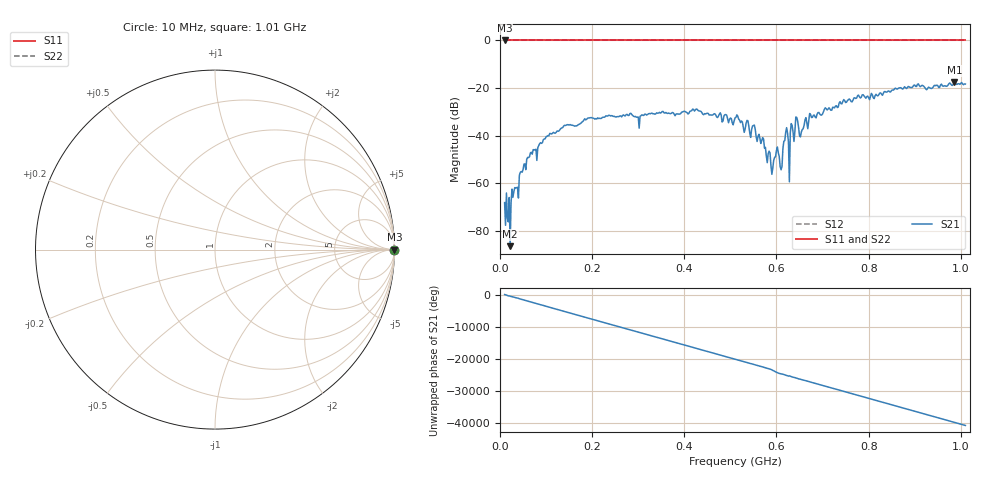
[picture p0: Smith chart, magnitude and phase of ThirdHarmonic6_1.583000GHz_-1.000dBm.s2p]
! 8/16/2025 6:50:52 PM
! C:\ANRITSUVNA\TEMP\TEMP.S2P
! CHANNEL.1
! TR.MEASUREMENT
! RAW.DATA
! RF.CORRECTION.OFF
! AVERAGING.OFF
! IF.BANDWIDTH: 5KHZ
! SWEEPTYPE:  FREQ.SWEEP(Linear)
! Reference Plane Port Info
! PORT:  PORT1  PORT2
! DISTANCE:  0  m  0  m
! TIME:  0  s  0  s
! PHASE.OFFSET:  0  deg.  0  deg.
! LOSS:  0  dB  0  dB
! REF.LOSS:  0  dB  0  dB
! REF.FREQ:  0  Hz  0  Hz
! Power Info
! POWER:  -20  dBm  -20  dBm
! EFF.POWER:  -20  dBm  -20  dBm
! SOURCE.ATTEN:  0  dB  0  dB
! TEST.ATTEN:  0  dB  0  dB
# GHZ S RI R 50.0
! FREQ.GHZ  S11RE  S11IM  S21RE  S21IM  S12RE  S12IM  S22RE  S22IM
!; PortSelection: Port_12
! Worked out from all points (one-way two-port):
!   501 points, 10 MHz to 1.01 GHz, reference 50 ohm
!   highest |S21| = -17.63 dB at 986 MHz (marker M1); lowest = -86.4 dB at 22 MHz (marker M2)
!   lowest |S11| = 0.0 dB at 10 MHz (marker M3)
!   |S11| at or under -10 dB: nowhere
!   |S22| runs from 0.0 to 0.0 dB; largest |S21 - S12| = 1.1
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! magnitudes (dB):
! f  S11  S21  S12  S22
! 10 MHz  0.0  -68.1  0.0  0.0
! 20 MHz  0.0  -66.0  0.0  0.0
! 22 MHz  0.0  -86.4  0.0  0.0
! 30 MHz  0.0  -63.6  0.0  0.0
! 70 MHz  0.0  -47.8  0.0  0.0
! 106 MHz  0.0  -40.1  0.0  0.0
! 178 MHz  0.0  -34.3  0.0  0.0
! 344 MHz  0.0  -30.5  0.0  0.0
! 424 MHz  0.0  -29.2  0.0  0.0
! 510 MHz  0.0  -32.5  0.0  0.0
! 550 MHz  0.0  -35.7  0.0  0.0
! 592 MHz  0.0  -53.6  0.0  0.0
! 600 MHz  0.0  -46.2  0.0  0.0
! 610 MHz  0.0  -54.3  0.0  0.0
! 620 MHz  0.0  -38.7  0.0  0.0
! 626 MHz  0.0  -42.7  0.0  0.0
! 644 MHz  0.0  -32.3  0.0  0.0
! 654 MHz  0.0  -38.5  0.0  0.0
! 678 MHz  0.0  -32.3  0.0  0.0
! 844 MHz  0.0  -21.2  0.0  0.0
! 986 MHz  0.0  -17.6  0.0  0.0
! 1.01 GHz  0.0  -18.3  0.0  0.0
